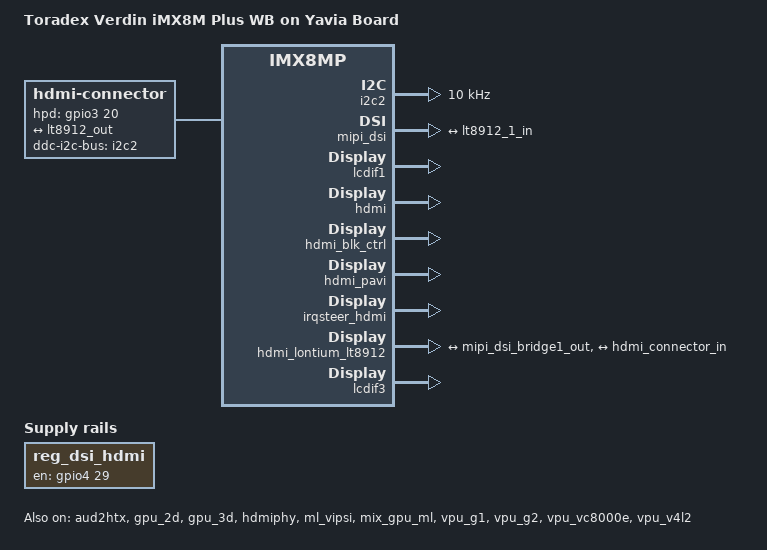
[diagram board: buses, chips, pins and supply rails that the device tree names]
// SPDX-License-Identifier: GPL-2.0-or-later OR MIT
/*
 * Copyright 2023 Toradex
 */

/dts-v1/;

#include "imx8mp-verdin.dtsi"
#include "imx8mp-verdin-wifi.dtsi"
#include "imx8mp-verdin-yavia.dtsi"

/ {
	model = "Toradex Verdin iMX8M Plus WB on Yavia Board";
	compatible = "toradex,verdin-imx8mp-wifi-yavia",
		     "toradex,verdin-imx8mp-wifi",
		     "toradex,verdin-imx8mp",
		     "fsl,imx8mp";

	hdmi-connector {
		compatible = "hdmi-connector";
		ddc-i2c-bus = <&i2c2>;
		/* Verdin PWM_3_DSI (SODIMM 19) */
		hpd-gpios = <&gpio3 20 GPIO_ACTIVE_HIGH>;
		pinctrl-names = "default";
		pinctrl-0 = <&pinctrl_pwm_3_dsi_hpd_gpio>;
		label = "hdmi";
		type = "a";

		port {
			hdmi_connector_in: endpoint {
				remote-endpoint = <&lt8912_out>;
			};
		};
	};

	reg_dsi_hdmi: regulator-dsi-hdmi {
		compatible = "regulator-fixed";
		enable-active-high;
		/* Verdin CTRL_SLEEP_MOCI# (SODIMM 256) */
		gpio = <&gpio4 29 GPIO_ACTIVE_HIGH>;
		regulator-boot-on;
		regulator-name = "DSI_1_PWR_EN";
	};
};

/* Verdin I2C_2_DSI */
&i2c2 {
	/* Lower frequency to avoid DDC/EDID issues with certain displays/screens. */
	clock-frequency = <10000>;
	status = "okay";
};

&mipi_dsi {
	#address-cells = <1>;
	#size-cells = <0>;
	status = "okay";

	port@1 {
		reg = <1>;

		mipi_dsi_bridge1_out: endpoint {
			attach-bridge;
			remote-endpoint = <&lt8912_1_in>;
		};
	};
};

/* LCDIF to MIPI-DSI */
&lcdif1 {
	status = "okay";
};

&aud2htx {
	status = "okay";
};

&gpu_2d {
	status = "okay";
};

&gpu_3d {
	status = "okay";
};

&hdmi {
	status = "okay";
};

&hdmiphy {
	status = "okay";
};

&hdmi_blk_ctrl {
	status = "okay";
};

&hdmi_pavi {
	status = "okay";
};

&irqsteer_hdmi {
	status = "okay";
};

&hdmi_lontium_lt8912 {
	pinctrl-0 = <&pinctrl_gpio_10_dsi>;
	vdd-supply = <&reg_dsi_hdmi>;
	status = "okay";

	ports {
		#address-cells = <1>;
		#size-cells = <0>;

		port@0 {
			reg = <0>;

			lt8912_1_in: endpoint {
				data-lanes = <1 2 3 4>;
				remote-endpoint = <&mipi_dsi_bridge1_out>;
			};
		};

		port@1 {
			reg = <1>;

			lt8912_out: endpoint {
				remote-endpoint = <&hdmi_connector_in>;
			};
		};
	};
};

/* LCDIF to on-SoC Samsung HDMI PHY */
&lcdif3 {
	status = "okay";
};

&pwm3 {
	/* PWM 3 conflicts with the HPD signal from the adapter */
	status = "disabled";
};

&ml_vipsi {
	status = "okay";
};

&mix_gpu_ml {
	status = "okay";
};

&sound_hdmi {
	status = "okay";
};

&vpu_g1 {
	status = "okay";
};

&vpu_g2 {
	status = "okay";
};

&vpu_vc8000e {
	status = "okay";
};

&vpu_v4l2 {
	status = "okay";
};
